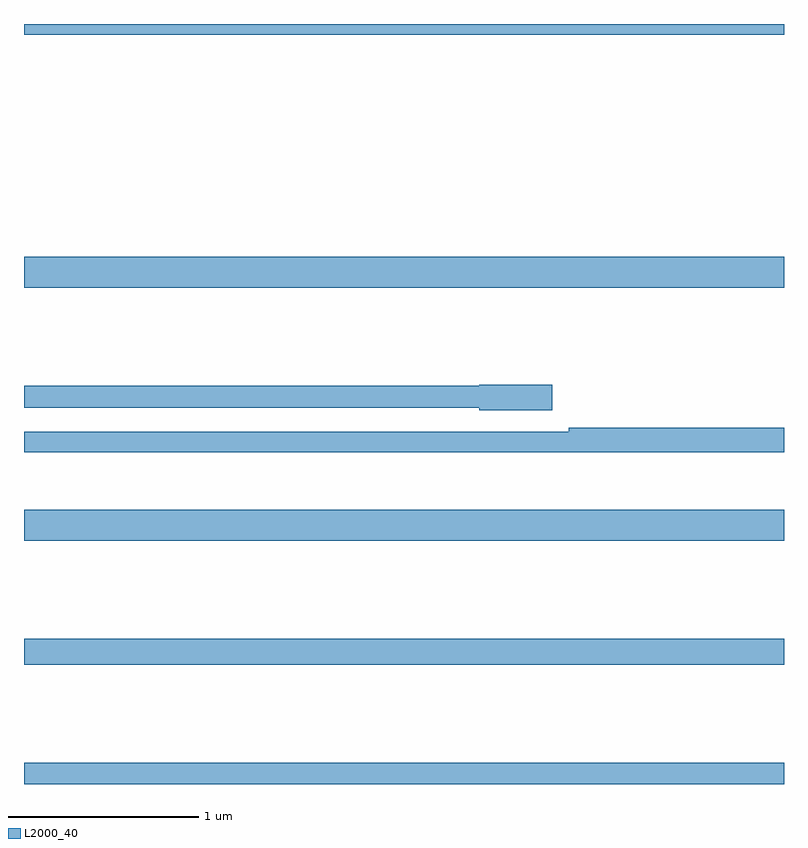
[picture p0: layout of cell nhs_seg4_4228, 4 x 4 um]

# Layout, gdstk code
import gdstk
lib = gdstk.Library(unit=1e-6, precision=1e-09)
def R(c, l, rs):  # rectangles x0, y0, x1, y1
    for r in rs: c.add(gdstk.rectangle(r[:2], r[2:], *l))
def P(c, l, *ps):  # polygons
    for p in ps: c.add(gdstk.Polygon(p, *l))
L2000_40 = (2000, 40)

nhs_seg4_4228 = lib.new_cell('nhs_seg4_4228')
R(nhs_seg4_4228, L2000_40, [(337,768.9,341,769.012), (337,769.528,341,769.664), (337,770.18,341,770.344), (337,771.512,341,771.676), (337,772.844,341,772.9)])
P(nhs_seg4_4228, L2000_40, [(339.781,771.002),(339.396,771.002),(339.396,770.996),(337,770.996),(337,770.88),(339.396,770.88),(339.396,770.867),(339.781,770.867)],
  [(341,770.774),(339.868,770.774),(339.868,770.754),(337,770.754),(337,770.646),(341,770.646)])

lib.write_gds('nhs_seg4_4228.gds')
